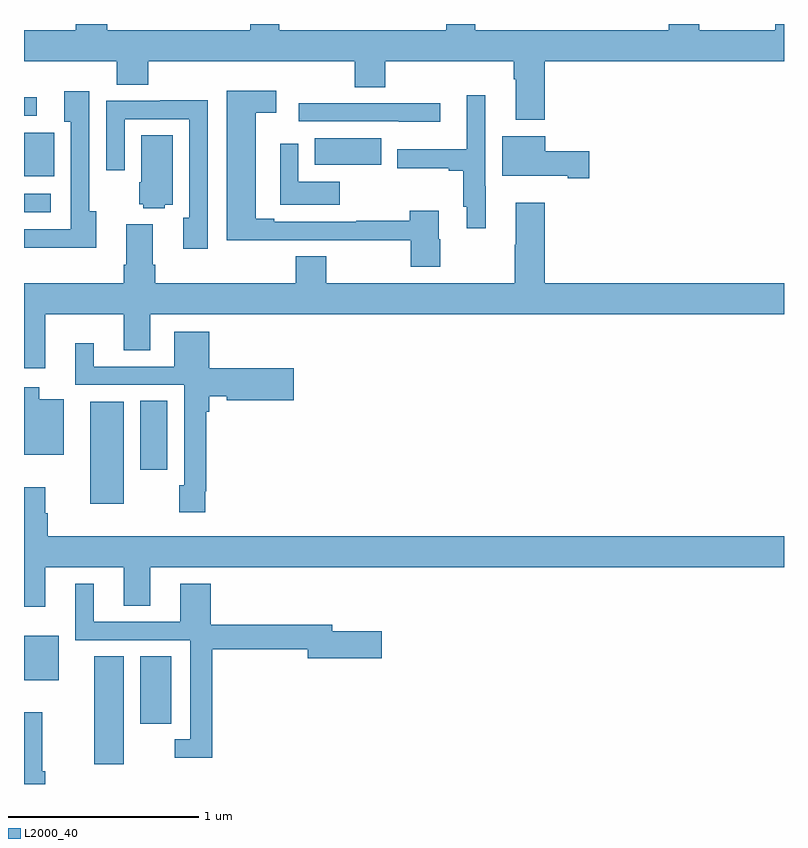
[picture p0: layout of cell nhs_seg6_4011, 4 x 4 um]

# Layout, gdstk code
import gdstk
lib = gdstk.Library(unit=1e-6, precision=1e-09)
def R(c, l, rs):  # rectangles x0, y0, x1, y1
    for r in rs: c.add(gdstk.rectangle(r[:2], r[2:], *l))
def P(c, l, *ps):  # polygons
    for p in ps: c.add(gdstk.Polygon(p, *l))
L2000_40 = (2000, 40)

nhs_seg6_4011 = lib.new_cell('nhs_seg6_4011')
R(nhs_seg6_4011, L2000_40, [(347.369,975.603,347.524,976.172), (347.612,975.816,347.776,976.172), (347,976.046,347.182,976.279), (347.348,976.976,347.524,977.512), (347.612,977.154,347.755,977.516), (347,978.51,347.14,978.606), (347,978.699,347.158,978.927), (348.529,978.758,348.879,978.898), (347,979.017,347.068,979.115)])
P(nhs_seg6_4011, L2000_40, [(349.742,979.304),(351,979.304),(351,979.5),(350.953,979.5),(350.953,979.468),(350.553,979.468),(350.553,979.5),(350.393,979.5),(350.393,979.468),(349.376,979.468),(349.376,979.5),(349.223,979.5),(349.223,979.468),(348.343,979.468),(348.343,979.5),(348.191,979.5),(348.191,979.468),(347.438,979.468),(347.438,979.5),(347.273,979.5),(347.273,979.468),(347,979.468),(347,979.304),(347.489,979.304),(347.489,979.18),(347.654,979.18),(347.654,979.304),(348.742,979.304),(348.742,979.168),(348.902,979.168),(348.902,979.304),(349.577,979.304),(349.577,979.208),(349.589,979.208),(349.589,978.995),(349.742,978.995)],
  [(349.191,978.366),(349.183,978.366),(349.183,978.517),(349.031,978.517),(349.031,978.464),(348.748,978.464),(348.748,978.459),(348.316,978.459),(348.316,978.475),(348.22,978.475),(348.22,979.033),(348.328,979.033),(348.328,979.15),(348.068,979.15),(348.068,978.361),(348.316,978.361),(348.316,978.363),(348.679,978.363),(348.679,978.361),(349.036,978.361),(349.036,978.222),(349.191,978.222)],
  [(347.38,978.514),(347.343,978.514),(347.343,979.147),(347.213,979.147),(347.213,978.986),(347.247,978.986),(347.247,978.42),(347,978.42),(347,978.323),(347.38,978.323)],
  [(349.429,978.647),(349.428,978.647),(349.428,979.126),(349.331,979.126),(349.331,978.841),(348.964,978.841),(348.964,978.742),(349.235,978.742),(349.235,978.728),(349.312,978.728),(349.312,978.538),(349.331,978.538),(349.331,978.426),(349.429,978.426)],
  [(347.967,979.099),(347.717,979.099),(347.717,979.095),(347.433,979.095),(347.433,978.729),(347.529,978.729),(347.529,978.999),(347.871,978.999),(347.871,978.479),(347.837,978.479),(347.837,978.318),(347.967,978.318)],
  [(349.192,979.083),(348.447,979.083),(348.447,978.987),(348.972,978.987),(348.972,978.986),(349.192,978.986)],
  [(347.742,978.548),(347.782,978.548),(347.782,978.914),(347.618,978.914),(347.618,978.666),(347.606,978.666),(347.606,978.552),(347.628,978.552),(347.628,978.53),(347.742,978.53)],
  [(349.975,978.831),(349.744,978.831),(349.744,978.91),(349.517,978.91),(349.517,978.701),(349.862,978.701),(349.862,978.689),(349.975,978.689)],
  [(348.661,978.67),(348.444,978.67),(348.444,978.871),(348.348,978.871),(348.348,978.652),(348.349,978.652),(348.349,978.549),(348.661,978.549)],
  [(347.113,977.972),(347.525,977.972),(347.525,977.782),(347.665,977.782),(347.665,977.972),(351,977.972),(351,978.136),(349.742,978.136),(349.742,978.559),(349.589,978.559),(349.589,978.338),(349.582,978.338),(349.582,978.136),(348.591,978.136),(348.591,978.278),(348.431,978.278),(348.431,978.136),(347.69,978.136),(347.69,978.232),(347.677,978.232),(347.677,978.445),(347.537,978.445),(347.537,978.232),(347.525,978.232),(347.525,978.136),(347,978.136),(347,977.688),(347.113,977.688)],
  [(347.953,977.041),(347.96,977.041),(347.96,977.459),(347.974,977.459),(347.974,977.542),(348.068,977.542),(348.068,977.519),(348.421,977.519),(348.421,977.689),(347.974,977.689),(347.974,977.881),(347.792,977.881),(347.792,977.697),(347.368,977.697),(347.368,977.821),(347.27,977.821),(347.27,977.601),(347.844,977.601),(347.844,977.073),(347.818,977.073),(347.818,976.929),(347.953,976.929)],
  [(347.209,977.524),(347.08,977.524),(347.08,977.587),(347,977.587),(347,977.234),(347.209,977.234)],
  [(347.113,976.64),(347.525,976.64),(347.525,976.438),(347.665,976.438),(347.665,976.64),(351,976.64),(351,976.804),(347.126,976.804),(347.126,976.925),(347.113,976.925),(347.113,977.062),(347,977.062),(347,976.434),(347.113,976.434)],
  [(347.99,976.21),(348.494,976.21),(348.494,976.163),(348.883,976.163),(348.883,976.305),(348.622,976.305),(348.622,976.339),(347.984,976.339),(347.984,976.555),(347.822,976.555),(347.822,976.353),(347.368,976.353),(347.368,976.555),(347.27,976.555),(347.27,976.257),(347.874,976.257),(347.874,975.735),(347.793,975.735),(347.793,975.638),(347.99,975.638)],
  [(347.111,975.568),(347.096,975.568),(347.096,975.877),(347,975.877),(347,975.5),(347.111,975.5)])

lib.write_gds('nhs_seg6_4011.gds')
